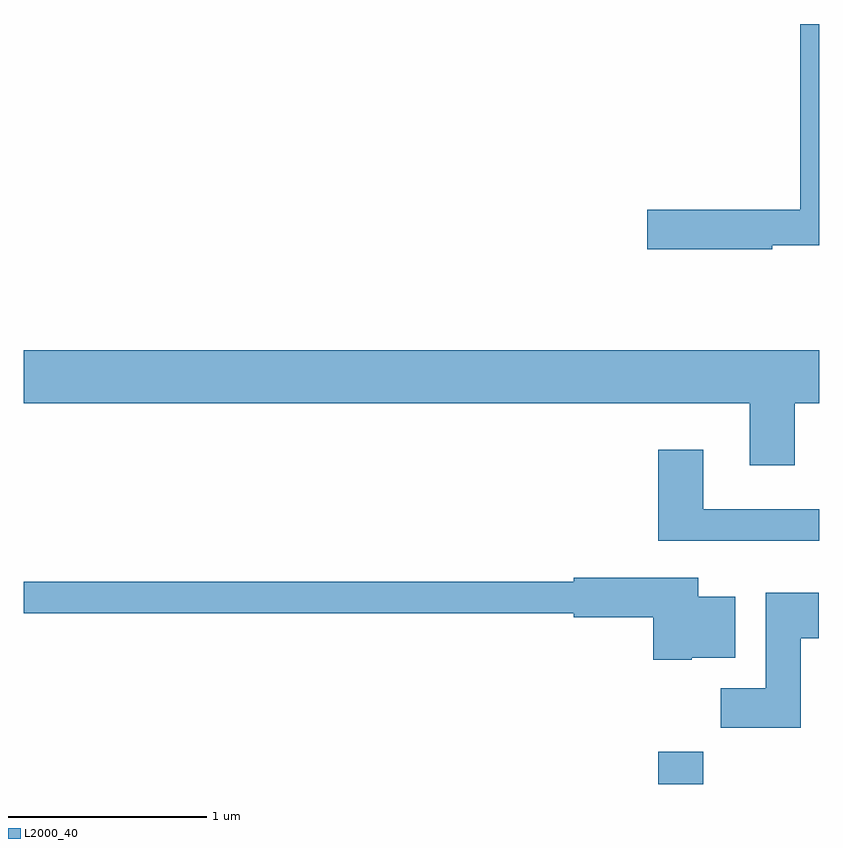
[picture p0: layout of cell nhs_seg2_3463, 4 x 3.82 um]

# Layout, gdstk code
import gdstk
lib = gdstk.Library(unit=1e-6, precision=1e-09)
def R(c, l, rs):  # rectangles x0, y0, x1, y1
    for r in rs: c.add(gdstk.rectangle(r[:2], r[2:], *l))
def P(c, l, *ps):  # polygons
    for p in ps: c.add(gdstk.Polygon(p, *l))
L2000_40 = (2000, 40)

nhs_seg2_3463 = lib.new_cell('nhs_seg2_3463')
R(nhs_seg2_3463, L2000_40, [(290.801,979.802,291.029,979.964)])
P(nhs_seg2_3463, L2000_40, [(291.374,982.511),(291.611,982.511),(291.611,983.624),(291.516,983.624),(291.516,982.689),(290.746,982.689),(290.746,982.491),(291.374,982.491)],
  [(291.489,981.716),(291.611,981.716),(291.611,981.984),(287.611,981.984),(287.611,981.716),(291.261,981.716),(291.261,981.406),(291.489,981.406)],
  [(291.611,981.184),(291.029,981.184),(291.029,981.484),(290.801,981.484),(290.801,981.026),(291.611,981.026)],
  [(290.97,980.436),(291.189,980.436),(291.189,980.744),(291.004,980.744),(291.004,980.839),(290.376,980.839),(290.376,980.819),(287.611,980.819),(287.611,980.661),(290.376,980.661),(290.376,980.641),(290.776,980.641),(290.776,980.426),(290.97,980.426)],
  [(291.519,980.536),(291.609,980.536),(291.609,980.764),(291.341,980.764),(291.341,980.284),(291.116,980.284),(291.116,980.086),(291.519,980.086)])

lib.write_gds('nhs_seg2_3463.gds')
